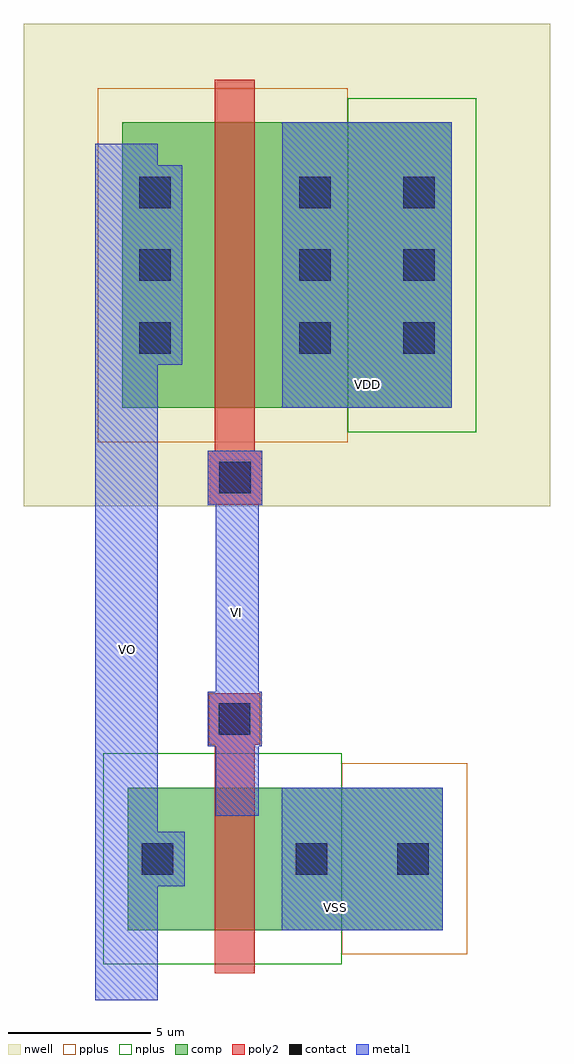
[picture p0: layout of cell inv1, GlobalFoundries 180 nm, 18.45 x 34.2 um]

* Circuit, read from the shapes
.subckt inv1 VDD VI VO VSS
XM1 VSS VI VO VSS nfet_03v3 w=5u l=1.4u
XM2 VDD VI VO VDD pfet_03v3 w=10u l=1.4u
.ends

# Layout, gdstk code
import gdstk
lib = gdstk.Library(unit=1e-6, precision=5e-09)
def R(c, l, rs):  # rectangles x0, y0, x1, y1
    for r in rs: c.add(gdstk.rectangle(r[:2], r[2:], *l))
def A(c, l, x, y, w, h, nx, ny, dx, dy):  # array of equal rectangles
    R(c, l, [(x+i*dx, y+j*dy, x+i*dx+w, y+j*dy+h) for i in range(nx) for j in range(ny)])
nwell = (21, 0)
comp = (22, 0)
poly2 = (30, 0)
pplus = (31, 0)
nplus = (32, 0)
contact = (33, 0)
metal1 = (34, 0)

nfet = lib.new_cell('nfet')
R(nfet, comp, [(-0.42,0,0,1), (0,0,0.66,1), (0.66,0,1.08,1), (1.08,0,1.79,1)])
R(nfet, poly2, [(0.19,-0.3,0.47,1.3), (0.15,1.3,0.51,1.66)])
R(nfet, pplus, [(1.08,-0.17,1.96,1.17)])
R(nfet, nplus, [(-0.59,-0.24,1.08,1.24)])
R(nfet, contact, [(-0.32,0.39,-0.1,0.61), (0.76,0.39,0.98,0.61), (1.47,0.39,1.69,0.61), (0.22,1.37,0.44,1.59)])
R(nfet, metal1, [(-0.4,0.31,-0.02,0.69), (0.68,0.31,1.06,0.69), (1.39,0.31,1.77,0.69), (0.14,1.29,0.52,1.67)])

pfet = lib.new_cell('pfet')
R(pfet, nwell, [(-1.15,-0.69,2.54,2.69)])
R(pfet, comp, [(-0.46,0,0,2), (0,0,0.66,2), (0.66,0,1.12,2), (1.12,0,1.85,2)])
R(pfet, poly2, [(0.14,-0.68,0.52,-0.3), (0.19,-0.3,0.47,2.3)])
R(pfet, pplus, [(-0.63,-0.24,1.12,2.24)])
R(pfet, nplus, [(1.12,-0.17,2.02,2.17)])
A(pfet, contact, -0.34, 0.38, 0.22, 0.22, 1, 3, 0, 0.51)
A(pfet, contact, 0.78, 0.38, 0.22, 0.22, 1, 3, 0, 0.51)
A(pfet, contact, 1.51, 0.38, 0.22, 0.22, 1, 3, 0, 0.51)
R(pfet, contact, [(0.22,-0.6,0.44,-0.38)])
R(pfet, metal1, [(0.14,-0.68,0.52,-0.3), (-0.42,0.3,-0.04,1.7), (0.7,0.3,1.08,1.7), (1.43,0.3,1.81,1.7)])

inv1 = lib.new_cell('inv1')
R(inv1, metal1, [(-4.77,-2.175,-2.57,27.825), (1.77,0.27,7.42,5.27), (1.78,18.58,7.73,28.58)])
inv1.add(gdstk.FlexPath([(0.21,16.44),(0.21,4.29)], 1.5, ends="flush", simple_path=True, layer=34, datatype=0))  # metal1
inv1.add(gdstk.Reference(nfet, (-1.53,0.27), magnification=5))
inv1.add(gdstk.Reference(pfet, (-1.52,18.58), magnification=5))
inv1.add(gdstk.Label('VSS', (3.66,1.06), layer=34, texttype=10))
inv1.add(gdstk.Label('VDD', (4.76,19.4), layer=34, texttype=10))
inv1.add(gdstk.Label('VO', (-3.63,10.12), layer=34, texttype=10))
inv1.add(gdstk.Label('VI', (0.17,11.39), layer=34, texttype=10))

lib.write_gds('inv1.gds')
